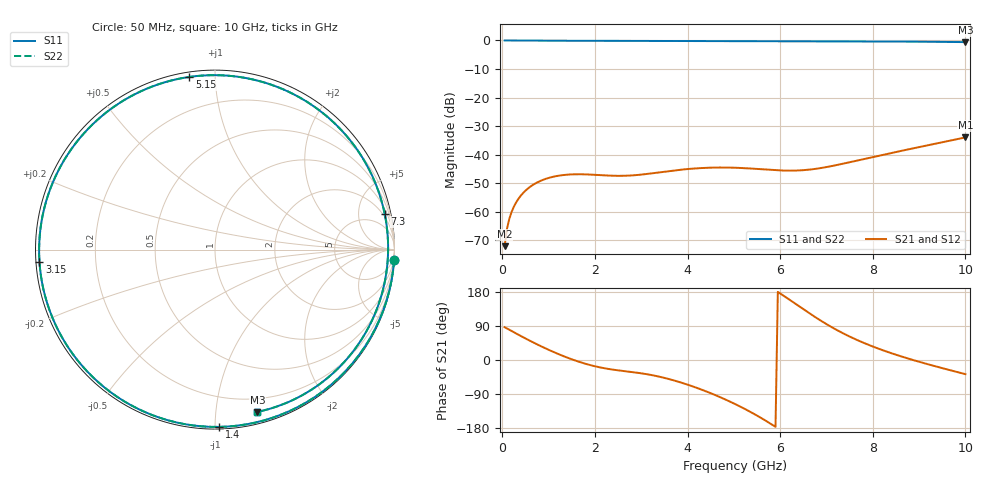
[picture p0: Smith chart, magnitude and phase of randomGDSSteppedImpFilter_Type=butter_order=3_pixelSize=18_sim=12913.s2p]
! freq	dB(S11)	phase(S11)	dB(S12)	phase(S12)
!  dB(S21)	phase(S21)	dB(S22)	phase(S22)
!S-par simulation data
#  GHz  S  DB  R 50
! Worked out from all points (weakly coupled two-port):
!   200 points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, 50 MHz to 10 GHz, reference 50 ohm
!   highest |S21| = -33.97 dB at 10 GHz (marker M1); lowest = -72.1 dB at 50 MHz (marker M2)
!   lowest |S11| = -0.6 dB at 10 GHz (marker M3), VSWR 29.69, Z = 4.5 - j64.5 ohm
!   |S11| at or under -10 dB: nowhere
!   |S22| runs from -0.6 to 0.0 dB; largest |S21 - S12| = 0
!   S11 on the Smith chart (normalised r, x): 50 MHz: 0, -34; 1.4 GHz: 0.01, -1.02; 3.15 GHz: 0.01, -0.03; 5.15 GHz: 0.02, +0.86; 7.3 GHz: 1.57, +9.36; 10 GHz: 0.09, -1.29
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0.05  -0.00 -3.4  -72.08 86.6  -72.08 86.6  -0.00 -3.4
0.1  -0.01 -6.8  -66.07 83.2  -66.07 83.2  -0.01 -6.8
0.2  -0.02 -13.5  -60.12 76.5  -60.12 76.5  -0.02 -13.5
0.45  -0.04 -30.0  -53.44 60.1  -53.44 60.1  -0.04 -30.0
0.95  -0.08 -61.9  -48.42 29.7  -48.42 29.7  -0.08 -61.9
1.4  -0.10 -88.7  -47.03 6.4  -47.03 6.4  -0.10 -88.7
1.75  -0.12 -108.1  -46.90 -8.3  -46.90 -8.3  -0.12 -108.1
2.45  -0.15 -143.6  -47.42 -26.5  -47.42 -26.5  -0.15 -143.6
2.8  -0.16 -160.1  -47.29 -31.8  -47.29 -31.8  -0.16 -160.1
3.15  -0.17 -176.0  -46.72 -38.1  -46.72 -38.1  -0.17 -176.0
3.4  -0.18 173.0  -46.19 -44.3  -46.19 -44.3  -0.18 173.0
4.15  -0.21 140.7  -44.86 -71.3  -44.86 -71.3  -0.21 140.7
4.6  -0.22 121.6  -44.53 -92.6  -44.53 -92.6  -0.22 121.6
5.05  -0.24 102.7  -44.61 -117.6  -44.61 -117.6  -0.24 102.7
5.15  -0.24 98.5  -44.68 -123.7  -44.68 -123.7  -0.24 98.5
5.9  -0.26 67.3  -45.45 -176.4  -45.45 -176.4  -0.26 67.3
6.7  -0.28 35.0  -45.13 117.7  -45.13 117.7  -0.28 35.0
7.3  -0.30 11.9  -43.38 74.2  -43.38 74.2  -0.30 11.9
7.8  -0.32 -6.4  -41.57 45.4  -41.57 45.4  -0.32 -6.4
8.35  -0.36 -25.3  -39.60 20.0  -39.60 20.0  -0.36 -25.3
9.2  -0.45 -52.2  -36.70 -11.5  -36.70 -11.5  -0.45 -52.2
10  -0.59 -75.4  -33.97 -37.4  -33.97 -37.4  -0.59 -75.4
